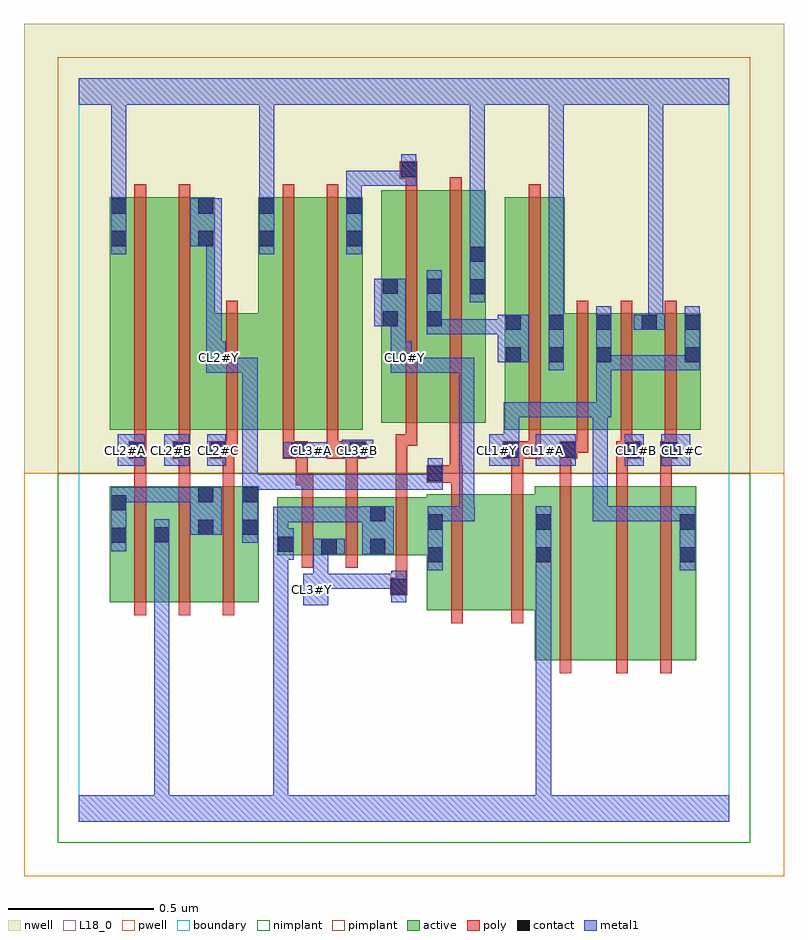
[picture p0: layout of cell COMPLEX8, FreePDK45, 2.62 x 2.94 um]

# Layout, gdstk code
import gdstk
lib = gdstk.Library(unit=1e-6, precision=1e-09)
def R(c, l, rs):  # rectangles x0, y0, x1, y1
    for r in rs: c.add(gdstk.rectangle(r[:2], r[2:], *l))
def A(c, l, x, y, w, h, nx, ny, dx, dy):  # array of equal rectangles
    R(c, l, [(x+i*dx, y+j*dy, x+i*dx+w, y+j*dy+h) for i in range(nx) for j in range(ny)])
active = (1, 0)
pwell = (2, 0)
nwell = (3, 0)
nimplant = (4, 0)
pimplant = (5, 0)
poly = (9, 0)
contact = (10, 0)
metal1 = (11, 0)
L18_0 = (18, 0)
boundary = (235, 0)

complex8 = lib.new_cell('COMPLEX8')
A(complex8, active, 0.256, 0.756, 0.06, 0.4, 3, 1, 0.152, 0)
R(complex8, active, [(1.57,0.556,1.794,1.156), (1.794,0.556,1.946,1.156), (1.946,0.556,2.126,1.156), (2.066,0.556,2.126,1.156), (1.198,0.728,1.378,1.128), (1.198,0.728,1.258,1.118), (1.378,0.728,1.63,1.128), (0.108,0.756,0.168,1.156), (0.108,0.756,0.316,1.156), (0.256,0.756,0.468,1.156), (0.408,0.756,0.62,1.156), (1.57,0.756,1.63,1.128), (0.684,0.918,0.744,1.118), (0.684,0.918,0.892,1.118), (0.832,0.918,0.892,1.118), (0.832,0.918,1.06,1.118), (1,0.918,1.258,1.118), (1,0.918,1.06,1.118), (0.108,1.35,0.168,2.15), (0.108,1.35,0.288,2.15), (0.288,1.35,0.468,2.15), (0.408,1.35,0.678,1.75), (0.618,1.35,0.798,2.15), (0.798,1.35,0.978,2.15), (0.918,1.35,0.978,2.15), (1.466,1.35,1.674,2.15), (1.466,1.35,1.526,2.044), (1.614,1.35,1.838,1.75), (1.778,1.35,1.838,1.75), (1.778,1.35,1.994,1.75), (1.934,1.35,2.142,1.75), (2.082,1.35,2.142,1.75), (1.042,1.374,1.254,2.174), (1.042,1.374,1.102,2.174), (1.194,1.374,1.402,2.174), (1.194,1.374,1.254,2.06), (1.342,1.374,1.402,2.044), (0.618,1.388,0.678,2.15), (1.614,1.472,1.674,2.15), (1.934,1.498,1.994,1.75), (0.408,1.572,0.468,2.15)])
R(complex8, pwell, [(-0.188,-0.188,2.428,1.2)])
R(complex8, nwell, [(-0.188,1.2,2.428,2.748)])
R(complex8, nimplant, [(-0.072,-0.072,2.312,1.2)])
R(complex8, pimplant, [(-0.072,1.2,2.312,2.632)])
A(complex8, poly, 0.192, 0.712, 0.04, 0.488, 3, 1, 0.152, 0)
A(complex8, poly, 0.192, 1.16, 0.04, 0.13, 3, 1, 0.152, 0)
A(complex8, poly, 1.714, 1.27, 0.04, 0.076, 3, 1, 0.152, 0)
A(complex8, poly, 1.714, 1.306, 0.04, 0.488, 3, 1, 0.152, 0)
R(complex8, poly, [(1.656,0.512,1.696,1.2), (1.85,0.512,1.89,1.2), (2.002,0.512,2.042,1.2), (1.282,0.684,1.322,1.172), (1.49,0.684,1.53,1.172), (1.072,0.78,1.132,0.84), (1.092,0.8,1.132,0.914), (0.768,0.874,0.808,1.162), (0.92,0.874,0.96,1.162), (1.092,0.874,1.132,1.162), (0.768,1.122,0.808,1.198), (0.92,1.122,0.96,1.29), (1.092,1.122,1.132,1.334), (1.282,1.132,1.322,1.208), (1.49,1.132,1.53,1.29), (0.748,1.158,0.788,1.29), (0.748,1.158,0.808,1.198), (1.656,1.16,1.696,1.29), (1.85,1.16,1.89,1.29), (2.002,1.16,2.042,1.29), (1.198,1.168,1.322,1.228), (1.278,1.188,1.318,1.228), (1.278,1.188,1.318,1.228), (1.278,1.188,1.318,1.37), (0.172,1.25,0.232,1.31), (0.324,1.25,0.384,1.31), (0.344,1.25,0.384,1.29), (0.344,1.25,0.384,1.29), (0.45,1.25,0.536,1.31), (0.702,1.25,0.788,1.31), (0.854,1.25,0.99,1.31), (0.92,1.25,0.96,1.29), (0.92,1.25,0.96,1.29), (1.46,1.25,1.59,1.31), (1.49,1.25,1.53,1.29), (1.49,1.25,1.53,1.29), (1.656,1.25,1.716,1.31), (1.85,1.25,1.936,1.31), (2.002,1.25,2.062,1.31), (0.192,1.27,0.232,1.346), (0.192,1.27,0.232,1.31), (0.192,1.27,0.232,1.31), (0.344,1.27,0.384,1.346), (0.496,1.27,0.536,1.31), (0.496,1.27,0.548,1.31), (0.508,1.27,0.548,1.346), (0.702,1.27,0.742,1.346), (0.854,1.27,0.894,1.346), (1.55,1.27,1.59,1.346), (1.676,1.27,1.716,1.31), (1.676,1.27,1.754,1.31), (1.866,1.27,1.906,1.31), (1.866,1.27,1.906,1.31), (2.018,1.27,2.058,1.31), (2.018,1.27,2.058,1.31), (1.092,1.294,1.132,1.334), (1.092,1.294,1.132,1.334), (1.092,1.294,1.166,1.334), (1.126,1.294,1.166,1.37), (0.192,1.306,0.232,2.194), (0.344,1.306,0.384,2.194), (0.508,1.306,0.548,1.794), (0.702,1.306,0.742,2.194), (0.854,1.306,0.894,2.194), (1.55,1.306,1.59,2.194), (1.126,1.33,1.166,2.218), (1.278,1.33,1.318,2.218), (1.126,2.178,1.166,2.254), (1.106,2.214,1.166,2.274)])
R(complex8, contact, [(1.076,0.784,1.128,0.836), (1.202,0.894,1.254,0.946), (1.574,0.894,1.626,0.946), (2.07,0.894,2.122,0.946), (0.836,0.922,0.888,0.974), (1.004,0.922,1.056,0.974), (0.688,0.93,0.74,0.982), (0.112,0.96,0.164,1.012), (0.26,0.962,0.312,1.014), (0.412,0.988,0.464,1.04), (0.564,0.988,0.616,1.04), (1.202,1.006,1.254,1.058), (1.574,1.006,1.626,1.058), (2.07,1.006,2.122,1.058), (1.004,1.034,1.056,1.086), (0.112,1.072,0.164,1.124), (0.412,1.1,0.464,1.152), (0.564,1.1,0.616,1.152), (1.202,1.172,1.254,1.224), (0.176,1.254,0.228,1.306), (0.328,1.254,0.38,1.306), (0.454,1.254,0.506,1.306), (0.732,1.254,0.784,1.306), (0.934,1.254,0.986,1.306), (1.464,1.254,1.516,1.306), (1.66,1.254,1.712,1.306), (1.88,1.254,1.932,1.306), (2.006,1.254,2.058,1.306), (1.47,1.582,1.522,1.634), (1.618,1.582,1.67,1.634), (1.782,1.582,1.834,1.634), (2.086,1.582,2.138,1.634), (1.47,1.694,1.522,1.746), (1.618,1.694,1.67,1.746), (1.782,1.694,1.834,1.746), (1.938,1.694,1.99,1.746), (2.086,1.694,2.138,1.746), (1.046,1.706,1.098,1.758), (1.198,1.706,1.25,1.758), (1.346,1.816,1.398,1.868), (1.046,1.818,1.098,1.87), (1.198,1.818,1.25,1.87), (1.346,1.928,1.398,1.98), (0.112,1.982,0.164,2.034), (0.412,1.982,0.464,2.034), (0.622,1.982,0.674,2.034), (0.922,1.982,0.974,2.034), (0.112,2.094,0.164,2.146), (0.412,2.094,0.464,2.146), (0.622,2.094,0.674,2.146), (0.922,2.094,0.974,2.146), (1.11,2.218,1.162,2.27)])
R(complex8, metal1, [(0,0,2.24,0.092), (0.26,0.04,0.312,0.092), (0.26,0.04,0.312,0.092), (0.26,0.04,0.312,0.986), (0.67,0.04,0.722,0.092), (0.67,0.04,0.722,0.092), (0.67,0.04,0.722,0.092), (0.67,0.04,0.722,0.092), (0.67,0.04,0.722,0.092), (0.67,0.04,0.722,0.092), (0.67,0.04,0.722,0.092), (0.67,0.04,0.722,0.092), (0.67,0.04,0.722,0.092), (0.67,0.04,0.722,0.092), (0.67,0.04,0.722,0.092), (0.67,0.04,0.722,0.092), (0.67,0.04,0.722,0.092), (0.67,0.04,0.722,0.092), (0.67,0.04,0.722,0.092), (0.67,0.04,0.722,0.092), (0.67,0.04,0.722,0.954), (1.574,0.04,1.626,0.092), (1.574,0.04,1.626,0.092), (1.574,0.04,1.626,0.092), (1.574,0.04,1.626,0.092), (1.574,0.04,1.626,0.092), (1.574,0.04,1.626,0.092), (1.574,0.04,1.626,0.092), (1.574,0.04,1.626,0.092), (1.574,0.04,1.626,0.918), (0.774,0.746,0.86,0.854), (1.076,0.756,1.128,0.864), (0.808,0.802,0.86,0.854), (0.808,0.802,0.86,0.854), (0.808,0.802,0.974,0.854), (0.808,0.802,0.86,0.974), (0.922,0.802,0.974,0.854), (0.922,0.802,1.128,0.854), (1.076,0.802,1.128,0.854), (1.076,0.802,1.128,0.854), (1.202,0.866,1.254,1.086), (1.574,0.866,1.626,1.086), (2.07,0.866,2.122,1.086), (0.67,0.902,0.74,1.01), (0.808,0.922,0.916,0.974), (0.976,0.922,1.084,1.086), (0.112,0.932,0.164,1.152), (0.26,0.934,0.312,0.986), (0.26,0.934,0.312,0.986), (0.26,0.934,0.312,0.986), (0.26,0.934,0.312,0.986), (0.26,0.934,0.312,0.986), (0.26,0.934,0.312,0.986), (0.26,0.934,0.312,0.986), (0.26,0.934,0.312,0.986), (0.26,0.934,0.312,0.986), (0.26,0.934,0.312,0.986), (0.26,0.934,0.312,1.042), (0.67,0.958,0.722,1.084), (0.564,0.96,0.616,1.18), (0.384,0.988,0.492,1.152), (0.67,1.032,0.722,1.084), (0.67,1.032,0.726,1.084), (0.674,1.032,0.726,1.084), (0.674,1.032,0.864,1.084), (0.812,1.032,0.864,1.084), (0.812,1.032,0.864,1.084), (0.812,1.032,0.864,1.084), (0.812,1.032,1.028,1.084), (1.202,1.034,1.356,1.086), (1.304,1.034,1.356,1.086), (1.304,1.034,1.364,1.086), (1.31,1.034,1.362,1.598), (1.31,1.034,1.364,1.086), (1.312,1.034,1.364,1.086), (1.312,1.034,1.364,1.086), (1.77,1.034,1.822,1.086), (1.77,1.034,1.822,1.086), (1.77,1.034,1.822,1.086), (1.77,1.034,1.944,1.086), (1.77,1.034,1.822,1.444), (1.892,1.034,1.944,1.086), (1.892,1.034,1.944,1.086), (1.892,1.034,1.944,1.086), (1.892,1.034,2.122,1.086), (2.07,1.034,2.122,1.086), (2.07,1.034,2.122,1.086), (0.112,1.1,0.164,1.152), (0.112,1.1,0.164,1.152), (0.112,1.1,0.326,1.152), (0.274,1.1,0.326,1.152), (0.274,1.1,0.326,1.152), (0.274,1.1,0.326,1.152), (0.274,1.1,0.436,1.152), (0.564,1.128,0.616,1.196), (0.564,1.144,0.616,1.196), (0.564,1.144,0.616,1.196), (0.564,1.144,0.616,1.196), (0.564,1.144,0.726,1.196), (0.564,1.144,0.616,1.598), (0.674,1.144,0.726,1.196), (0.674,1.144,0.864,1.196), (0.812,1.144,0.864,1.196), (0.812,1.144,0.864,1.196), (0.812,1.144,0.864,1.196), (0.812,1.144,0.974,1.196), (0.922,1.144,0.974,1.196), (0.922,1.144,1.14,1.196), (1.088,1.144,1.14,1.196), (1.088,1.144,1.14,1.196), (1.088,1.144,1.14,1.196), (1.088,1.144,1.254,1.196), (1.202,1.144,1.254,1.196), (1.202,1.144,1.254,1.196), (1.202,1.144,1.254,1.252), (0.134,1.226,0.228,1.334), (0.294,1.226,0.38,1.334), (0.442,1.226,0.506,1.334), (1.414,1.226,1.516,1.334), (1.574,1.226,1.712,1.334), (1.88,1.226,1.946,1.334), (2.006,1.226,2.106,1.334), (0.704,1.254,0.854,1.306), (0.906,1.254,1.014,1.316), (1.464,1.282,1.516,1.334), (1.464,1.282,1.516,1.444), (1.464,1.392,1.66,1.444), (1.608,1.392,1.66,1.444), (1.608,1.392,1.822,1.444), (1.77,1.392,1.834,1.444), (1.782,1.392,1.834,1.606), (0.44,1.546,0.506,1.654), (0.454,1.546,0.506,1.598), (0.454,1.546,0.506,1.598), (0.454,1.546,0.616,1.598), (0.564,1.546,0.616,1.598), (1.074,1.546,1.146,1.654), (1.094,1.546,1.146,1.598), (1.094,1.546,1.146,1.598), (1.094,1.546,1.254,1.598), (1.202,1.546,1.254,1.598), (1.202,1.546,1.356,1.598), (1.304,1.546,1.356,1.598), (1.304,1.546,1.362,1.598), (1.31,1.546,1.362,1.598), (1.618,1.554,1.67,1.774), (1.782,1.554,1.834,1.606), (1.782,1.554,1.834,1.606), (1.782,1.554,1.834,1.774), (1.782,1.554,2.012,1.606), (1.96,1.554,2.012,1.606), (1.96,1.554,2.138,1.606), (2.086,1.554,2.138,1.606), (2.086,1.554,2.138,1.606), (2.086,1.554,2.138,1.774), (1.442,1.582,1.55,1.746), (0.44,1.602,0.492,2.034), (1.074,1.602,1.126,1.758), (1.198,1.678,1.25,1.898), (1.198,1.678,1.362,1.73), (1.31,1.678,1.362,1.73), (1.31,1.678,1.362,1.73), (1.31,1.678,1.362,1.73), (1.31,1.678,1.494,1.73), (1.91,1.694,2.018,1.746), (1.96,1.694,2.012,1.746), (1.96,1.694,2.012,1.746), (1.96,1.694,2.012,1.746), (1.96,1.694,2.012,1.746), (1.96,1.694,2.012,1.746), (1.96,1.694,2.012,1.746), (1.96,1.694,2.012,2.52), (1.018,1.706,1.126,1.87), (1.618,1.722,1.67,2.52), (1.346,1.788,1.398,2.008), (0.112,1.954,0.164,2.174), (0.622,1.954,0.674,2.174), (0.922,1.954,0.974,2.174), (1.346,1.956,1.398,2.52), (0.384,1.982,0.492,2.146), (0.112,2.122,0.164,2.174), (0.112,2.122,0.164,2.174), (0.112,2.122,0.164,2.52), (0.622,2.122,0.674,2.174), (0.622,2.122,0.674,2.174), (0.622,2.122,0.674,2.174), (0.622,2.122,0.674,2.174), (0.622,2.122,0.674,2.52), (0.922,2.122,0.974,2.242), (0.922,2.19,0.974,2.242), (0.922,2.19,0.974,2.242), (0.922,2.19,0.974,2.242), (0.922,2.19,1.162,2.242), (1.11,2.19,1.162,2.298), (0,2.468,2.24,2.56), (0.112,2.468,0.164,2.52), (0.112,2.468,0.164,2.52), (0.112,2.468,0.164,2.52), (0.112,2.468,0.164,2.52), (0.112,2.468,0.164,2.52), (0.112,2.468,0.164,2.52), (0.622,2.468,0.674,2.52), (0.622,2.468,0.674,2.52), (0.622,2.468,0.674,2.52), (0.622,2.468,0.674,2.52), (1.346,2.468,1.398,2.52), (1.346,2.468,1.398,2.52), (1.346,2.468,1.398,2.52), (1.346,2.468,1.398,2.52), (1.346,2.468,1.398,2.52), (1.346,2.468,1.398,2.52), (1.346,2.468,1.398,2.52), (1.346,2.468,1.398,2.52), (1.618,2.468,1.67,2.52), (1.618,2.468,1.67,2.52), (1.618,2.468,1.67,2.52), (1.618,2.468,1.67,2.52), (1.618,2.468,1.67,2.52), (1.618,2.468,1.67,2.52), (1.618,2.468,1.67,2.52), (1.618,2.468,1.67,2.52), (1.96,2.468,2.012,2.52), (1.96,2.468,2.012,2.52), (1.96,2.468,2.012,2.52), (1.96,2.468,2.012,2.52), (1.96,2.468,2.012,2.52), (1.96,2.468,2.012,2.52), (1.96,2.468,2.012,2.52), (1.96,2.468,2.012,2.52), (1.96,2.468,2.012,2.52), (1.96,2.468,2.012,2.52)])
A(complex8, L18_0, 0.134, 1.254, 0.052, 0.052, 3, 1, 0.16, 0)
R(complex8, L18_0, [(0,0,2.24,0.092), (0.26,0.04,0.312,0.092), (0.26,0.04,0.312,0.092), (0.26,0.04,0.312,0.986), (0.67,0.04,0.722,0.092), (0.67,0.04,0.722,0.092), (0.67,0.04,0.722,0.092), (0.67,0.04,0.722,0.092), (0.67,0.04,0.722,0.092), (0.67,0.04,0.722,0.092), (0.67,0.04,0.722,0.092), (0.67,0.04,0.722,0.092), (0.67,0.04,0.722,0.092), (0.67,0.04,0.722,0.092), (0.67,0.04,0.722,0.092), (0.67,0.04,0.722,0.092), (0.67,0.04,0.722,0.092), (0.67,0.04,0.722,0.092), (0.67,0.04,0.722,0.092), (0.67,0.04,0.722,0.092), (0.67,0.04,0.722,0.954), (1.574,0.04,1.626,0.092), (1.574,0.04,1.626,0.092), (1.574,0.04,1.626,0.092), (1.574,0.04,1.626,0.092), (1.574,0.04,1.626,0.092), (1.574,0.04,1.626,0.092), (1.574,0.04,1.626,0.092), (1.574,0.04,1.626,0.092), (1.574,0.04,1.626,0.918), (0.774,0.746,0.86,0.854), (1.076,0.756,1.128,0.864), (0.774,0.774,0.826,0.826), (0.808,0.802,0.86,0.854), (0.808,0.802,0.86,0.854), (0.808,0.802,0.86,0.974), (0.808,0.802,0.974,0.854), (0.922,0.802,0.974,0.854), (0.922,0.802,1.128,0.854), (1.076,0.802,1.128,0.854), (1.076,0.802,1.128,0.854), (1.202,0.866,1.254,1.086), (1.574,0.866,1.626,1.086), (2.07,0.866,2.122,1.086), (0.67,0.902,0.74,1.01), (0.808,0.922,0.916,0.974), (0.976,0.922,1.084,1.086), (0.26,0.934,0.312,0.986), (0.26,0.934,0.312,0.986), (0.26,0.934,0.312,0.986), (0.26,0.934,0.312,0.986), (0.26,0.934,0.312,0.986), (0.26,0.934,0.312,0.986), (0.26,0.934,0.312,0.986), (0.26,0.934,0.312,0.986), (0.26,0.934,0.312,0.986), (0.26,0.934,0.312,0.986), (0.26,0.934,0.312,1.042), (0.67,0.958,0.722,1.084), (0.564,0.96,0.616,1.18), (0.67,1.032,0.722,1.084), (0.67,1.032,0.726,1.084), (0.674,1.032,0.726,1.084), (0.674,1.032,0.864,1.084), (0.812,1.032,0.864,1.084), (0.812,1.032,0.864,1.084), (0.812,1.032,0.864,1.084), (0.812,1.032,1.028,1.084), (1.202,1.034,1.356,1.086), (1.304,1.034,1.356,1.086), (1.304,1.034,1.364,1.086), (1.31,1.034,1.364,1.086), (1.31,1.034,1.362,1.598), (1.312,1.034,1.364,1.086), (1.312,1.034,1.364,1.086), (1.77,1.034,1.822,1.086), (1.77,1.034,1.822,1.086), (1.77,1.034,1.822,1.086), (1.77,1.034,1.822,1.444), (1.77,1.034,1.944,1.086), (1.892,1.034,1.944,1.086), (1.892,1.034,1.944,1.086), (1.892,1.034,1.944,1.086), (1.892,1.034,2.122,1.086), (2.07,1.034,2.122,1.086), (2.07,1.034,2.122,1.086), (0.564,1.128,0.616,1.196), (0.564,1.144,0.616,1.196), (0.564,1.144,0.616,1.196), (0.564,1.144,0.616,1.196), (0.564,1.144,0.726,1.196), (0.564,1.144,0.616,1.598), (0.674,1.144,0.726,1.196), (0.674,1.144,0.864,1.196), (0.812,1.144,0.864,1.196), (0.812,1.144,0.864,1.196), (0.812,1.144,0.864,1.196), (0.812,1.144,0.974,1.196), (0.922,1.144,0.974,1.196), (0.922,1.144,1.14,1.196), (1.088,1.144,1.14,1.196), (1.088,1.144,1.14,1.196), (1.088,1.144,1.14,1.196), (1.088,1.144,1.254,1.196), (1.202,1.144,1.254,1.196), (1.202,1.144,1.254,1.196), (1.202,1.144,1.254,1.252), (0.134,1.226,0.228,1.334), (0.294,1.226,0.38,1.334), (0.442,1.226,0.506,1.334), (1.414,1.226,1.516,1.334), (1.574,1.226,1.712,1.334), (1.88,1.226,1.946,1.334), (2.006,1.226,2.106,1.334), (0.704,1.254,0.854,1.306), (0.774,1.254,0.826,1.306), (0.906,1.254,1.014,1.316), (0.934,1.254,0.986,1.306), (1.414,1.254,1.466,1.306), (1.574,1.254,1.626,1.306), (1.894,1.254,1.946,1.306), (2.054,1.254,2.106,1.306), (1.464,1.282,1.516,1.334), (1.464,1.282,1.516,1.444), (1.464,1.392,1.66,1.444), (1.608,1.392,1.66,1.444), (1.608,1.392,1.822,1.444), (1.77,1.392,1.834,1.444), (1.782,1.392,1.834,1.606), (0.44,1.546,0.506,1.654), (0.454,1.546,0.506,1.598), (0.454,1.546,0.506,1.598), (0.454,1.546,0.616,1.598), (0.564,1.546,0.616,1.598), (1.074,1.546,1.146,1.654), (1.094,1.546,1.146,1.598), (1.094,1.546,1.146,1.598), (1.094,1.546,1.254,1.598), (1.202,1.546,1.254,1.598), (1.202,1.546,1.356,1.598), (1.304,1.546,1.356,1.598), (1.304,1.546,1.362,1.598), (1.31,1.546,1.362,1.598), (1.618,1.554,1.67,1.774), (1.782,1.554,1.834,1.774), (1.782,1.554,1.834,1.606), (1.782,1.554,1.834,1.606), (1.782,1.554,2.012,1.606), (1.96,1.554,2.012,1.606), (1.96,1.554,2.138,1.606), (2.086,1.554,2.138,1.774), (2.086,1.554,2.138,1.606), (2.086,1.554,2.138,1.606), (0.454,1.574,0.506,1.626), (1.094,1.574,1.146,1.626), (0.44,1.602,0.492,2.034), (1.074,1.602,1.126,1.758), (1.91,1.694,2.018,1.746), (1.96,1.694,2.012,1.746), (1.96,1.694,2.012,1.746), (1.96,1.694,2.012,1.746), (1.96,1.694,2.012,1.746), (1.96,1.694,2.012,1.746), (1.96,1.694,2.012,1.746), (1.96,1.694,2.012,2.52), (1.018,1.706,1.126,1.87), (1.618,1.722,1.67,2.52), (1.346,1.788,1.398,2.008), (0.112,1.954,0.164,2.174), (0.622,1.954,0.674,2.174), (0.922,1.954,0.974,2.174), (1.346,1.956,1.398,2.52), (0.384,1.982,0.492,2.146), (0.112,2.122,0.164,2.174), (0.112,2.122,0.164,2.174), (0.112,2.122,0.164,2.52), (0.622,2.122,0.674,2.174), (0.622,2.122,0.674,2.174), (0.622,2.122,0.674,2.174), (0.622,2.122,0.674,2.174), (0.622,2.122,0.674,2.52), (0.922,2.122,0.974,2.242), (0.922,2.19,0.974,2.242), (0.922,2.19,0.974,2.242), (0.922,2.19,0.974,2.242), (0.922,2.19,1.162,2.242), (1.11,2.19,1.162,2.298), (0,2.468,2.24,2.56), (0.112,2.468,0.164,2.52), (0.112,2.468,0.164,2.52), (0.112,2.468,0.164,2.52), (0.112,2.468,0.164,2.52), (0.112,2.468,0.164,2.52), (0.112,2.468,0.164,2.52), (0.622,2.468,0.674,2.52), (0.622,2.468,0.674,2.52), (0.622,2.468,0.674,2.52), (0.622,2.468,0.674,2.52), (1.346,2.468,1.398,2.52), (1.346,2.468,1.398,2.52), (1.346,2.468,1.398,2.52), (1.346,2.468,1.398,2.52), (1.346,2.468,1.398,2.52), (1.346,2.468,1.398,2.52), (1.346,2.468,1.398,2.52), (1.346,2.468,1.398,2.52), (1.618,2.468,1.67,2.52), (1.618,2.468,1.67,2.52), (1.618,2.468,1.67,2.52), (1.618,2.468,1.67,2.52), (1.618,2.468,1.67,2.52), (1.618,2.468,1.67,2.52), (1.618,2.468,1.67,2.52), (1.618,2.468,1.67,2.52), (1.96,2.468,2.012,2.52), (1.96,2.468,2.012,2.52), (1.96,2.468,2.012,2.52), (1.96,2.468,2.012,2.52), (1.96,2.468,2.012,2.52), (1.96,2.468,2.012,2.52), (1.96,2.468,2.012,2.52), (1.96,2.468,2.012,2.52), (1.96,2.468,2.012,2.52), (1.96,2.468,2.012,2.52)])
R(complex8, boundary, [(0,0,2.24,2.56)])
complex8.add(gdstk.Label('CL0#Y', (1.12,1.6), layer=11, texttype=0))
complex8.add(gdstk.Label('CL1#A', (1.6,1.28), layer=11, texttype=0))
complex8.add(gdstk.Label('CL1#B', (1.92,1.28), layer=11, texttype=0))
complex8.add(gdstk.Label('CL1#C', (2.08,1.28), layer=11, texttype=0))
complex8.add(gdstk.Label('CL1#Y', (1.44,1.28), layer=11, texttype=0))
complex8.add(gdstk.Label('CL2#A', (0.16,1.28), layer=11, texttype=0))
complex8.add(gdstk.Label('CL2#B', (0.32,1.28), layer=11, texttype=0))
complex8.add(gdstk.Label('CL2#C', (0.48,1.28), layer=11, texttype=0))
complex8.add(gdstk.Label('CL2#Y', (0.48,1.6), layer=11, texttype=0))
complex8.add(gdstk.Label('CL3#A', (0.8,1.28), layer=11, texttype=0))
complex8.add(gdstk.Label('CL3#B', (0.96,1.28), layer=11, texttype=0))
complex8.add(gdstk.Label('CL3#Y', (0.8,0.8), layer=11, texttype=0))

lib.write_gds('COMPLEX8.gds')
